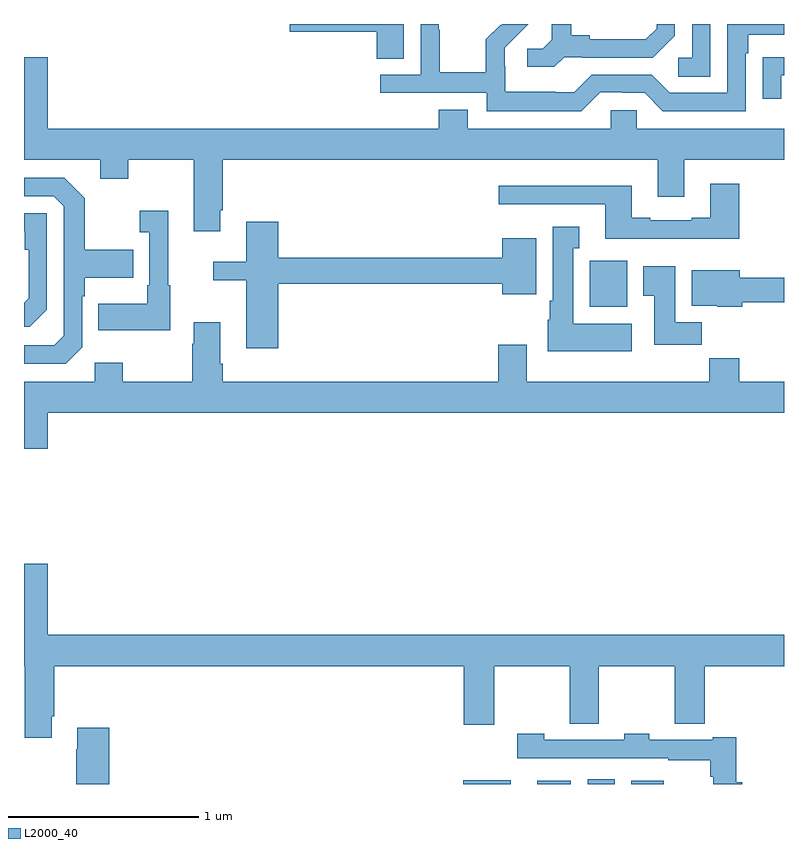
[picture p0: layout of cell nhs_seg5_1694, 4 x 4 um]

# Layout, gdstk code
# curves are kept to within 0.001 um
import gdstk
lib = gdstk.Library(unit=1e-6, precision=1e-09)
def R(c, l, rs):  # rectangles x0, y0, x1, y1
    for r in rs: c.add(gdstk.rectangle(r[:2], r[2:], *l))
def P(c, l, *ps):  # polygons
    for p in ps: c.add(gdstk.Polygon(p, *l))
L2000_40 = (2000, 40)

nhs_seg5_1694 = lib.new_cell('nhs_seg5_1694')
R(nhs_seg5_1694, L2000_40, [(215.312,862.799,215.563,862.819), (215.702,862.799,215.878,862.816), (215.966,862.799,216.109,862.825), (216.197,862.799,216.367,862.816), (215.978,865.31,216.175,865.552)])
P(nhs_seg5_1694, L2000_40, [(215.844,866.625),(215.938,866.625),(215.938,866.622),(216.31,866.622),(216.426,866.738),(216.426,866.799),(216.329,866.799),(216.329,866.775),(216.272,866.718),(215.977,866.718),(215.977,866.741),(215.881,866.741),(215.881,866.799),(215.777,866.799),(215.777,866.717),(215.73,866.67),(215.649,866.67),(215.649,866.573),(215.792,866.573)],
  [(216.033,866.439),(216.149,866.439),(216.149,866.436),(216.267,866.436),(216.363,866.34),(216.798,866.34),(216.798,866.645),(216.811,866.645),(216.811,866.742),(217,866.742),(217,866.799),(216.702,866.799),(216.702,866.436),(216.399,866.436),(216.303,866.532),(215.988,866.532),(215.895,866.439),(215.795,866.439),(215.795,866.443),(215.532,866.443),(215.532,866.577),(215.53,866.577),(215.53,866.674),(215.653,866.799),(215.517,866.799),(215.511,866.793),(215.508,866.796),(215.431,866.719),(215.431,866.545),(215.187,866.545),(215.187,866.768),(215.184,866.768),(215.184,866.799),(215.088,866.799),(215.088,866.532),(214.875,866.532),(214.875,866.436),(215.436,866.436),(215.436,866.339),(215.933,866.339)],
  [(214.999,866.799),(214.398,866.799),(214.398,866.759),(214.856,866.759),(214.856,866.617),(214.999,866.617)],
  [(216.612,866.799),(216.516,866.799),(216.516,866.622),(216.444,866.622),(216.444,866.521),(216.612,866.521)],
  [(216.985,866.529),(217,866.529),(217,866.625),(216.991,866.625),(216.991,866.624),(216.889,866.624),(216.889,866.406),(216.985,866.406)],
  [(214.033,865.819),(214.046,865.819),(214.046,866.084),(216.335,866.084),(216.335,865.89),(216.475,865.89),(216.475,866.084),(217,866.084),(217,866.248),(216.225,866.248),(216.225,866.346),(216.087,866.346),(216.087,866.248),(215.335,866.248),(215.335,866.347),(215.183,866.347),(215.183,866.248),(213.124,866.248),(213.124,866.623),(213,866.623),(213,866.084),(213.401,866.084),(213.401,865.985),(213.549,865.985),(213.549,866.084),(213.893,866.084),(213.893,865.707),(214.033,865.707)],
  [(213.306,865.098),(213.306,865.367),(213.319,865.367),(213.319,865.463),(213.575,865.463),(213.575,865.611),(213.319,865.611),(213.319,865.883),(213.213,865.989),(213,865.989),(213,865.893),(213.156,865.893),(213.21,865.839),(213.21,865.158),(213.159,865.107),(213,865.107),(213,865.011),(213.219,865.011)],
  [(216.764,865.957),(216.611,865.957),(216.611,865.78),(216.515,865.78),(216.515,865.767),(216.295,865.767),(216.295,865.78),(216.199,865.78),(216.199,865.948),(215.499,865.948),(215.499,865.851),(216.059,865.851),(216.059,865.67),(216.764,865.67)],
  [(213.769,865.423),(213.759,865.423),(213.759,865.816),(213.609,865.816),(213.609,865.703),(213.66,865.703),(213.66,865.423),(213.648,865.423),(213.648,865.327),(213.391,865.327),(213.391,865.187),(213.769,865.187)],
  [(213.12,865.296),(213.12,865.803),(213,865.803),(213,865.707),(213.004,865.707),(213.004,865.61),(213.024,865.61),(213.024,865.356),(213,865.332),(213,865.206),(213.03,865.206)],
  [(214.337,865.432),(215.516,865.432),(215.516,865.376),(215.695,865.376),(215.695,865.672),(215.516,865.672),(215.516,865.568),(214.337,865.568),(214.337,865.759),(214.169,865.759),(214.169,865.549),(213.996,865.549),(213.996,865.45),(214.169,865.45),(214.169,865.092),(214.337,865.092)],
  [(216.199,865.222),(215.89,865.222),(215.89,865.619),(215.923,865.619),(215.923,865.732),(215.783,865.732),(215.783,865.342),(215.768,865.342),(215.768,865.242),(215.756,865.242),(215.756,865.076),(216.199,865.076)],
  [(216.566,865.228),(216.427,865.228),(216.427,865.525),(216.26,865.525),(216.26,865.369),(216.317,865.369),(216.317,865.11),(216.566,865.11)],
  [(216.779,865.335),(217,865.335),(217,865.463),(216.766,865.463),(216.766,865.504),(216.515,865.504),(216.515,865.316),(216.648,865.316),(216.648,865.31),(216.779,865.31)],
  [(213.124,864.752),(217,864.752),(217,864.916),(216.764,864.916),(216.764,865.04),(216.607,865.04),(216.607,864.916),(215.647,864.916),(215.647,865.111),(215.495,865.111),(215.495,864.916),(214.046,864.916),(214.046,865.012),(214.033,865.012),(214.033,865.228),(213.893,865.228),(213.893,865.115),(213.886,865.115),(213.886,864.916),(213.519,864.916),(213.519,865.015),(213.372,865.015),(213.372,864.916),(213,864.916),(213,864.564),(213.124,864.564)],
  [(213.124,863.959),(213,863.959),(213,863.42),(213.005,863.42),(213.005,863.043),(213.145,863.043),(213.145,863.155),(213.158,863.155),(213.158,863.42),(215.315,863.42),(215.315,863.112),(215.475,863.112),(215.475,863.42),(215.872,863.42),(215.872,863.116),(216.026,863.116),(216.026,863.42),(216.424,863.42),(216.424,863.116),(216.584,863.116),(216.584,863.42),(217,863.42),(217,863.584),(213.124,863.584)],
  [(213.449,863.095),(213.281,863.095),(213.281,862.982),(213.274,862.982),(213.274,862.799),(213.449,862.799)],
  [(216.779,862.807),(216.749,862.807),(216.749,863.044),(216.626,863.044),(216.626,863.031),(216.291,863.031),(216.291,863.064),(216.159,863.064),(216.159,863.031),(215.739,863.031),(215.739,863.064),(215.595,863.064),(215.595,862.935),(216.391,862.935),(216.391,862.923),(216.613,862.923),(216.613,862.838),(216.628,862.838),(216.628,862.799),(216.779,862.799)])

lib.write_gds('nhs_seg5_1694.gds')
